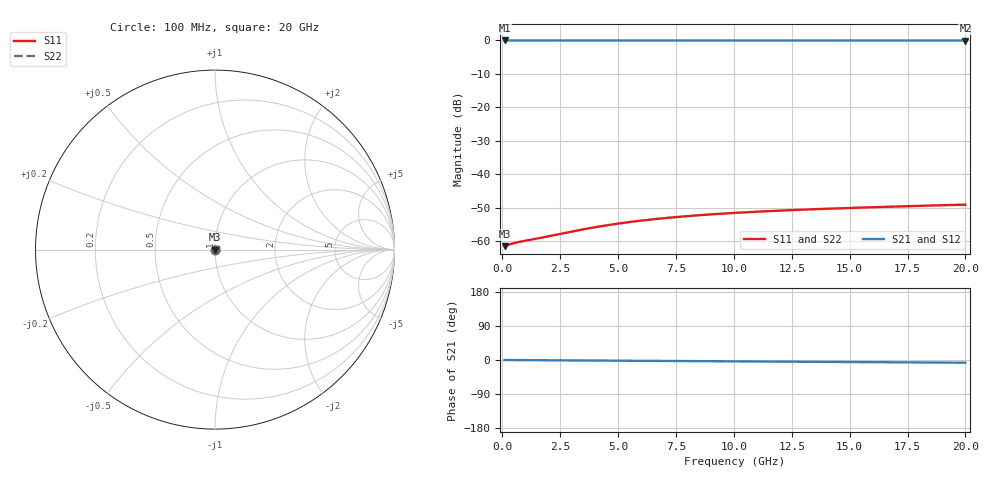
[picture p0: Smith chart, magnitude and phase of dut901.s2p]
! Touchstone file exported from HFSS 2026.1.0
!  File:  C:/ffzhzh/LocalFiles/Ansys_Project_Files/temp_train_TSV_901_1783186168_18472.aedt
!  Generated:  01:31:07 AM Jul  5, 2026
!  Design:  TSV
!  Project:  temp_train_TSV_901_1783186168_18472
! Variables:
!  h_bsmrdl = 2um
!  h_ox = 20um
!  h_rdl = 5um
!  h_sub = 78.04um
!  h_tmrdl = 5um
!  h_tsv = 78.04um
!  h_via = 3um
!  l_bsmrdl = 300um
!  l_sub = 406.6um
!  l_tmrdl = 200um
!  m_sub = 200um
!  pitch = 13.78um
!  r_tsv = 3.3um
!  s_tmrdl = 10um
!  w_bsmrdl = 18um
!  w_sub = 500um
!  w_tmrdl = 12um
!  x_tsv_center1 = 206um
!  x_tsv_center2 = 524um
!  x_tsv_center3 = 736um
!  x_tsv_center4 = 1054um
!  x_tsv_center5 = 1266um
!  x_tsv_center6 = 1584um
# GHz S MA R 50.000000
! Terminal data exported
! Port[1] = TSV1_1_T1
! Port[2] = TSV1_1_T2
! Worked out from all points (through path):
!   200 points, 100 MHz to 20 GHz, reference 50 ohm
!   highest |S21| = -0.01 dB at 100 MHz (marker M1); lowest = 0.0 dB at 20 GHz (marker M2)
!   lowest |S11| = -61.4 dB at 100 MHz (marker M3), VSWR 1.00, Z = 50.1 + j0.00556 ohm
!   |S11| at or under -10 dB: start of sweep to end of sweep
!   |S22| runs from -61.4 to -49.0 dB; largest |S21 - S12| = 4.1e-15
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0.1  0.0008516 3.7  0.9992 -0.0  0.9992 -0.0  0.0008516 3.7
! Gamma 0 0 0 0
! Port Impedance 50 0 50 0
0.4  0.0009248 10.5  0.9991 -0.2  0.9991 -0.2  0.0009248 10.5
0.5  0.000946 11.8  0.9991 -0.2  0.9991 -0.2  0.000946 11.8
0.7  0.0009811 14.0  0.999 -0.3  0.999 -0.3  0.0009811 14.0
1.6  0.001124 22.8  0.999 -0.6  0.999 -0.6  0.001124 22.8
2.9  0.001387 30.6  0.9988 -1.1  0.9988 -1.1  0.001387 30.6
3.5  0.00152 32.3  0.9987 -1.3  0.9987 -1.3  0.00152 32.3
3.9  0.00161 33.0  0.9987 -1.4  0.9987 -1.4  0.00161 33.0
4.3  0.001698 33.3  0.9986 -1.6  0.9986 -1.6  0.001698 33.3
4.7  0.001785 33.5  0.9985 -1.7  0.9985 -1.7  0.001785 33.5
5.1  0.001869 33.4  0.9985 -1.9  0.9985 -1.9  0.001869 33.4
5.9  0.00203 32.8  0.9983 -2.2  0.9983 -2.2  0.00203 32.8
6.8  0.002196 31.8  0.9982 -2.5  0.9982 -2.5  0.002196 31.8
7.5  0.002314 30.7  0.9981 -2.7  0.9981 -2.7  0.002314 30.7
8.3  0.002438 29.5  0.9979 -3.0  0.9979 -3.0  0.002438 29.5
9.2  0.002564 28.0  0.9978 -3.3  0.9978 -3.3  0.002564 28.0
10.1  0.002679 26.5  0.9977 -3.6  0.9977 -3.6  0.002679 26.5
11.6  0.002849 24.1  0.9975 -4.2  0.9975 -4.2  0.002849 24.1
13.4  0.003025 21.4  0.9973 -4.8  0.9973 -4.8  0.003025 21.4
14.9  0.003156 19.2  0.9971 -5.3  0.9971 -5.3  0.003156 19.2
16.7  0.003301 16.8  0.9969 -6.0  0.9969 -6.0  0.003302 16.8
20  0.003548 12.4  0.9966 -7.1  0.9966 -7.1  0.003549 12.4
